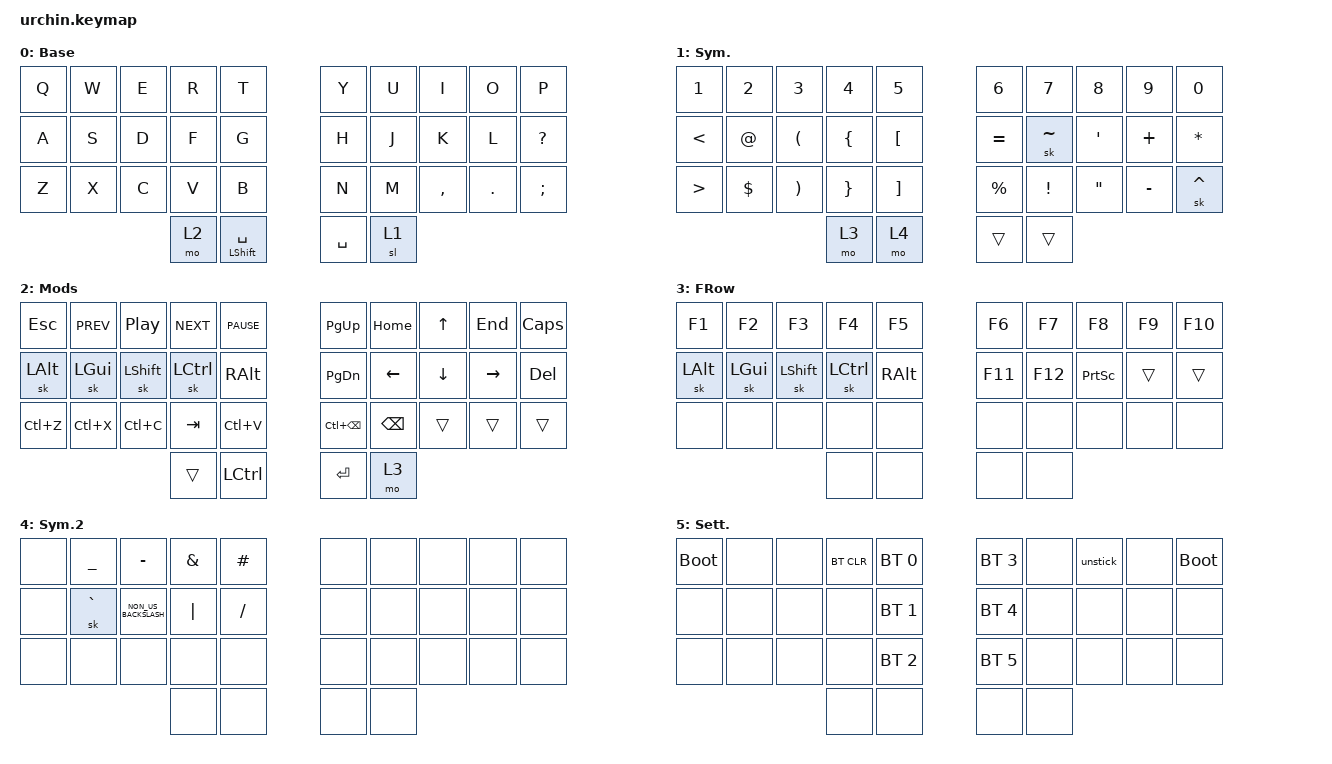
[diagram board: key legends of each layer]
/*
 * Copyright (c) 2020 duckyb
 *
 * SPDX-License-Identifier: MIT
 */

#include "keymap_brazilian_abnt2.h"
#include "keycodes.h"
#include <behaviors.dtsi>
#include <dt-bindings/zmk/bt.h>
#include <dt-bindings/zmk/keys.h>

// Layer definitions

#define BASE 0
#define SYM 1
#define EXT 2
#define FNC 3
#define SYM2 4
#define ACCENT 5
#define SETTINGS 6

// -----------------

&sk {
    // don't release mods on other mods presses

    ignore-modifiers;
};

/ {
    behaviors {
        // Enables holding the first mod-tap key by performing a tap-release-hold sequence.
        // To use it: "&qt KEYCODE1 KEYCODE2"

        qt: quick_tap {
            compatible = "zmk,behavior-hold-tap";
            label = "QUICK_TAP";
            #binding-cells = <2>;
            flavor = "hold-preferred";
            tapping-term-ms = <200>;
            quick-tap-ms = <200>;
            bindings = <&kp>, <&kp>;
        };
    };

    macros {
        // sometimes my device thinks a modifier is being held down
        // pressing all modifiers fixes it.

        unstick: unstick {
            label = "ZM_unstick";
            compatible = "zmk,behavior-macro";
            #binding-cells = <0>;
            bindings = <&kp LSHIFT &kp RSHIFT &kp LCTRL &kp RCTRL &kp LALT &kp RALT &kp LGUI &kp RGUI>;
        };

        caret: caret {
            compatible = "zmk,behavior-macro";
            #binding-cells = <0>;
            bindings = <&sk LS(NUMBER_6) &kp E>;
            label = "CARET";
        };

        quote: quote {
            compatible = "zmk,behavior-macro";
            #binding-cells = <0>;
            bindings = <&sk LS(SINGLE_QUOTE) &kp E>;
            label = "QUOTE";
        };

        tilde: tilde {
            compatible = "zmk,behavior-macro";
            #binding-cells = <0>;
            bindings = <&sk TILDE &kp A>;
            label = "TILDE";
        };

        accent: accent {
            compatible = "zmk,behavior-macro";
            #binding-cells = <0>;
            bindings = <&sk GRAVE &kp A>;
            label = "ACCENT";
        };

        crtlAlt: crtlAlt {
            compatible = "zmk,behavior-macro";
            #binding-cells = <0>;
            bindings = <&kp RCTRL &kp LEFT_ALT>;
            label = "CRTLALT";
        };
    };

    combos {
        compatible = "zmk,combos";

        // both right thumb keys

        combo_accent {
            timeout-ms = <200>;
            key-positions = <33 31>;
            bindings = <&mo 0>;
        };

        // internal-left & external-right thumb keys

        combo_sym2 {
            timeout-ms = <200>;
            key-positions = <33 32>;
            bindings = <&mo 4>;
        };

        // both left thumb keys

        combo_settings {
            timeout-ms = <200>;
            key-positions = <30 31>;
            bindings = <&mo 5>;
        };

        // left index & middle fingers (home-row)
        // hold control & space for Adobe workflow

        Backspace {
            bindings = <&kp BACKSPACE>;
            key-positions = <14 13>;
        };

        Tab {
            bindings = <&kp TAB>;
            key-positions = <4 3>;
        };

        Esc {
            bindings = <&kp ESCAPE>;
            key-positions = <0 1>;
        };

        Ctrl-stiky {
            bindings = <&sk LEFT_CONTROL>;
            key-positions = <20 21>;
        };

        Shift_sticky {
            bindings = <&sk LEFT_SHIFT>;
            key-positions = <10 11>;
        };

        Play-Pause {
            bindings = <&kp C_PLAY_PAUSE>;
            key-positions = <2 3>;
        };

        Enter {
            bindings = <&kp RETURN>;
            key-positions = <23 22 24>;
        };

        Linguagem {
            bindings = <&kp LG(SPACE)>;
            key-positions = <30 31 32 33>;
        };

        enter2 {
            bindings = <&kp RETURN>;
            key-positions = <25 26 27>;
        };

        backspace2 {
            bindings = <&kp BACKSPACE>;
            key-positions = <15 16>;
        };

        ControlAlt {
            bindings = <&crtlAlt>;
            key-positions = <20 10 0>;
        };

        PrintScreem {
            bindings = <&kp PRINTSCREEN>;
            key-positions = <0 4>;
        };

        FormatarVS {
            bindings = <&kp LA(LS(F))>;
            key-positions = <20 24>;
        };

        Terminal {
            bindings = <&kp LC(GRAVE)>;
            key-positions = <14 20>;
        };

        CtrlB {
            bindings = <&kp LC(B)>;
            key-positions = <20 4>;
        };

        Comment {
            bindings = <&kp LC(SLASH)>;
            key-positions = <10 14>;
        };
    };

    keymap {
        compatible = "zmk,keymap";

        // Base alpha layer

        default_layer {
            label = "Base";
            bindings = <
  &kp Q  &kp W  &kp E  &kp R  &kp T               &kp Y      &kp U  &kp I      &kp O    &kp P
  &kp A  &kp S  &kp D  &kp F  &kp G               &kp H      &kp J  &kp K      &kp L    &kp QMARK
  &kp Z  &kp X  &kp C  &kp V  &kp B               &kp N      &kp M  &kp COMMA  &kp DOT  &kp SEMICOLON
                       &mo 2  &qt LSHIFT SPACE    &kp SPACE  &sl 1
            >;
        };

        // Numbers and high frequency symbols

        sym_layer {
            label = "Sym.";
            bindings = <
  &kp N1            &kp N2       &kp N3                 &kp NUMBER_4     &kp N5               &kp NUMBER_6  &kp N7           &kp N8             &kp N9     &kp N0
  &kp LESS_THAN     &kp AT_SIGN  &kp LEFT_PARENTHESIS   &kp LEFT_BRACE   &kp LEFT_BRACKET     &kp EQUAL     &sk TILDE        &kp SINGLE_QUOTE   &kp PLUS   &kp ASTERISK
  &kp GREATER_THAN  &kp DOLLAR   &kp RIGHT_PARENTHESIS  &kp RIGHT_BRACE  &kp RIGHT_BRACKET    &kp PERCENT   &kp EXCLAMATION  &kp DOUBLE_QUOTES  &kp MINUS  &sk CARET
                                                        &mo 3            &mo 4                &trans        &trans
            >;
        };

        // Main modifiers and arrow keys

        ext_layer {
            label = "Mods";
            bindings = <
  &kp ESC    &kp C_PREV  &kp C_PP    &kp C_NEXT  &kp C_PAUSE    &kp PG_UP     &kp HOME  &kp UP    &kp END    &kp CAPS
  &sk LALT   &sk LGUI    &sk LSHIFT  &sk LCTRL   &kp RALT       &kp PG_DN     &kp LEFT  &kp DOWN  &kp RIGHT  &kp DEL
  &kp LC(Z)  &kp LC(X)   &kp LC(C)   &kp TAB     &kp LC(V)      &kp LC(BSPC)  &kp BSPC  &trans    &trans     &trans
                                     &trans      &kp LCTRL      &kp ENTER     &mo 3
            >;
        };

        // Function keys with modifiers

        fnc_layer {
            label = "FRow";
            bindings = <
  &kp F1    &kp F2    &kp F3      &kp F4     &kp F5      &kp F6   &kp F7   &kp F8           &kp F9  &kp F10
  &sk LALT  &sk LGUI  &sk LSHIFT  &sk LCTRL  &kp RALT    &kp F11  &kp F12  &kp PRINTSCREEN  &trans  &trans
  &none     &none     &none       &none      &none       &none    &none    &none            &none   &none
                                  &none      &none       &none    &none
            >;
        };

        // Low frequency symbols

        symbols_2_layer {
            label = "Sym.2";
            bindings = <
  &none  &kp UNDERSCORE  &kp MINUS             &kp AMPERSAND  &kp POUND    &none  &none  &none  &none  &none
  &none  &sk GRAVE       &kp NON_US_BACKSLASH  &kp PIPE       &kp SLASH    &none  &none  &none  &none  &none
  &none  &none           &none                 &none          &none        &none  &none  &none  &none  &none
                                               &none          &none        &none  &none
            >;
        };

        // Used to type regional accents
        // Used to change the keyboard's settings

        settings_layer {
            label = "Sett.";
            bindings = <
  &bootloader  &none  &none  &bt BT_CLR  &bt BT_SEL 0    &bt BT_SEL 3  &none  &unstick  &none  &bootloader
  &none        &none  &none  &none       &bt BT_SEL 1    &bt BT_SEL 4  &none  &none     &none  &none
  &none        &none  &none  &none       &bt BT_SEL 2    &bt BT_SEL 5  &none  &none     &none  &none
                             &none       &none           &none         &none
            >;
        };
    };
};
